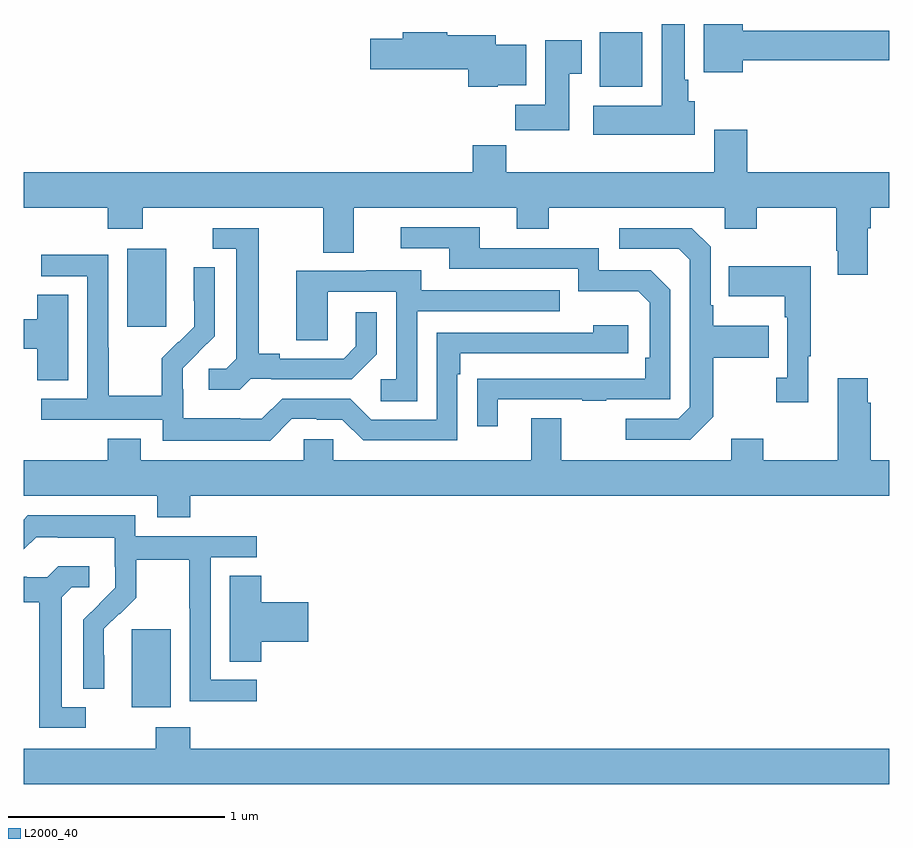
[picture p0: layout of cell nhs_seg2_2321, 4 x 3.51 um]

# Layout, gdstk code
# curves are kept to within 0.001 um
import gdstk
lib = gdstk.Library(unit=1e-6, precision=1e-09)
def R(c, l, rs):  # rectangles x0, y0, x1, y1
    for r in rs: c.add(gdstk.rectangle(r[:2], r[2:], *l))
def P(c, l, *ps):  # polygons
    for p in ps: c.add(gdstk.Polygon(p, *l))
L2000_40 = (2000, 40)

nhs_seg2_2321 = lib.new_cell('nhs_seg2_2321')
R(nhs_seg2_2321, L2000_40, [(231.5,662.642,231.679,663.003), (231.479,664.401,231.658,664.762), (233.663,665.51,233.859,665.761)])
P(nhs_seg2_2321, L2000_40, [(234.1,665.442),(234.07,665.442),(234.07,665.542),(234.055,665.542),(234.055,665.8),(233.948,665.8),(233.948,665.422),(233.631,665.422),(233.631,665.288),(234.1,665.288)],
  [(234.322,665.632),(235,665.632),(235,665.768),(234.322,665.768),(234.322,665.8),(234.143,665.8),(234.143,665.576),(234.322,665.576)],
  [(233.19,665.516),(233.323,665.516),(233.323,665.704),(233.182,665.704),(233.182,665.749),(232.958,665.749),(232.958,665.762),(232.751,665.762),(232.751,665.732),(232.602,665.732),(232.602,665.59),(233.054,665.59),(233.054,665.51),(233.19,665.51)],
  [(233.521,665.569),(233.578,665.569),(233.578,665.725),(233.411,665.725),(233.411,665.428),(233.272,665.428),(233.272,665.31),(233.521,665.31)],
  [(234.901,664.856),(234.914,664.856),(234.914,664.952),(235,664.952),(235,665.116),(234.344,665.116),(234.344,665.311),(234.191,665.311),(234.191,665.116),(233.231,665.116),(233.231,665.24),(233.075,665.24),(233.075,665.116),(231,665.116),(231,664.952),(231.389,664.952),(231.389,664.853),(231.549,664.853),(231.549,664.952),(232.385,664.952),(232.385,664.744),(232.525,664.744),(232.525,664.952),(233.279,664.952),(233.279,664.853),(233.427,664.853),(233.427,664.952),(234.24,664.952),(234.24,664.853),(234.387,664.853),(234.387,664.952),(234.754,664.952),(234.754,664.753),(234.761,664.753),(234.761,664.641),(234.901,664.641)],
  [(233.191,664.065),(233.581,664.065),(233.581,664.06),(233.693,664.06),(233.693,664.065),(233.988,664.065),(233.988,664.572),(233.898,664.662),(233.658,664.662),(233.658,664.764),(233.107,664.764),(233.107,664.86),(232.743,664.86),(232.743,664.764),(232.967,664.764),(232.967,664.668),(233.562,664.668),(233.562,664.565),(233.839,664.565),(233.892,664.512),(233.892,664.258),(233.872,664.258),(233.872,664.161),(233.095,664.16),(233.095,663.942),(233.191,663.942)],
  [(234.187,663.985),(234.187,664.258),(234.443,664.258),(234.443,664.405),(234.187,664.405),(234.187,664.501),(234.174,664.501),(234.174,664.77),(234.087,664.857),(233.751,664.857),(233.751,664.761),(234.027,664.761),(234.078,664.71),(234.078,664.029),(234.024,663.975),(233.781,663.975),(233.781,663.879),(234.081,663.879)],
  [(232.05,664.161),(232.144,664.161),(232.144,664.158),(232.516,664.158),(232.632,664.274),(232.632,664.468),(232.535,664.468),(232.535,664.311),(232.478,664.254),(232.183,664.254),(232.183,664.277),(232.087,664.277),(232.087,664.857),(231.873,664.857),(231.873,664.761),(231.983,664.761),(231.983,664.253),(231.936,664.206),(231.855,664.206),(231.855,664.109),(231.998,664.109)],
  [(232.239,663.975),(232.355,663.975),(232.355,663.972),(232.473,663.972),(232.569,663.876),(233.004,663.876),(233.004,664.181),(233.017,664.181),(233.017,664.278),(233.794,664.278),(233.794,664.408),(233.633,664.408),(233.633,664.374),(232.908,664.374),(232.908,663.972),(232.605,663.972),(232.509,664.068),(232.194,664.068),(232.101,663.975),(232.001,663.975),(232.001,663.979),(231.738,663.979),(231.738,664.113),(231.736,664.113),(231.736,664.21),(231.882,664.358),(231.882,664.676),(231.786,664.676),(231.786,664.522),(231.788,664.522),(231.788,664.4),(231.717,664.329),(231.714,664.332),(231.637,664.255),(231.637,664.081),(231.393,664.081),(231.393,664.304),(231.39,664.304),(231.39,664.734),(231.081,664.734),(231.081,664.635),(231.294,664.635),(231.294,664.068),(231.081,664.068),(231.081,663.972),(231.642,663.972),(231.642,663.875),(232.139,663.875)],
  [(234.625,664.265),(234.637,664.265),(234.637,664.681),(234.259,664.681),(234.259,664.541),(234.516,664.541),(234.516,664.445),(234.528,664.445),(234.528,664.166),(234.477,664.166),(234.477,664.053),(234.625,664.053)],
  [(232.818,664.473),(233.477,664.473),(233.477,664.569),(232.837,664.569),(232.837,664.663),(232.583,664.663),(232.583,664.659),(232.259,664.659),(232.259,664.339),(232.404,664.339),(232.404,664.563),(232.722,664.563),(232.722,664.158),(232.65,664.158),(232.65,664.057),(232.818,664.057)],
  [(231.205,664.55),(231.062,664.55),(231.062,664.436),(231,664.436),(231,664.3),(231.062,664.3),(231.062,664.153),(231.205,664.153)],
  [(231.77,663.62),(235,663.62),(235,663.784),(234.914,663.784),(234.914,664.049),(234.901,664.049),(234.901,664.162),(234.761,664.162),(234.761,663.784),(234.417,663.784),(234.417,663.883),(234.269,663.883),(234.269,663.784),(233.485,663.784),(233.485,663.979),(233.345,663.979),(233.345,663.784),(232.431,663.784),(232.431,663.882),(232.293,663.882),(232.293,663.784),(231.541,663.784),(231.541,663.883),(231.389,663.883),(231.389,663.784),(231,663.784),(231,663.62),(231.617,663.62),(231.617,663.521),(231.77,663.521)],
  [(232.078,662.769),(231.864,662.769),(231.864,663.336),(232.078,663.336),(232.078,663.432),(231.516,663.432),(231.516,663.529),(231.019,663.529),(231,663.51),(231,663.372),(231.057,663.429),(231.157,663.429),(231.157,663.425),(231.42,663.425),(231.42,663.291),(231.422,663.291),(231.422,663.194),(231.276,663.046),(231.276,662.728),(231.372,662.728),(231.371,663.005),(231.441,663.075),(231.444,663.072),(231.521,663.149),(231.521,663.324),(231.766,663.324),(231.766,663.1),(231.768,663.1),(231.768,662.671),(232.078,662.671)],
  [(231.286,662.643),(231.175,662.643),(231.175,663.151),(231.222,663.198),(231.304,663.198),(231.304,663.295),(231.16,663.295),(231.108,663.243),(231.014,663.243),(231.014,663.246),(231,663.246),(231,663.128),(231.071,663.128),(231.071,662.547),(231.286,662.547)],
  [(232.097,662.945),(232.315,662.945),(232.315,663.128),(232.097,663.128),(232.097,663.251),(231.953,663.251),(231.953,662.854),(232.097,662.854)],
  [(235,662.452),(231.77,662.452),(231.77,662.551),(231.61,662.551),(231.61,662.452),(231,662.452),(231,662.288),(235,662.288)])

lib.write_gds('nhs_seg2_2321.gds')
